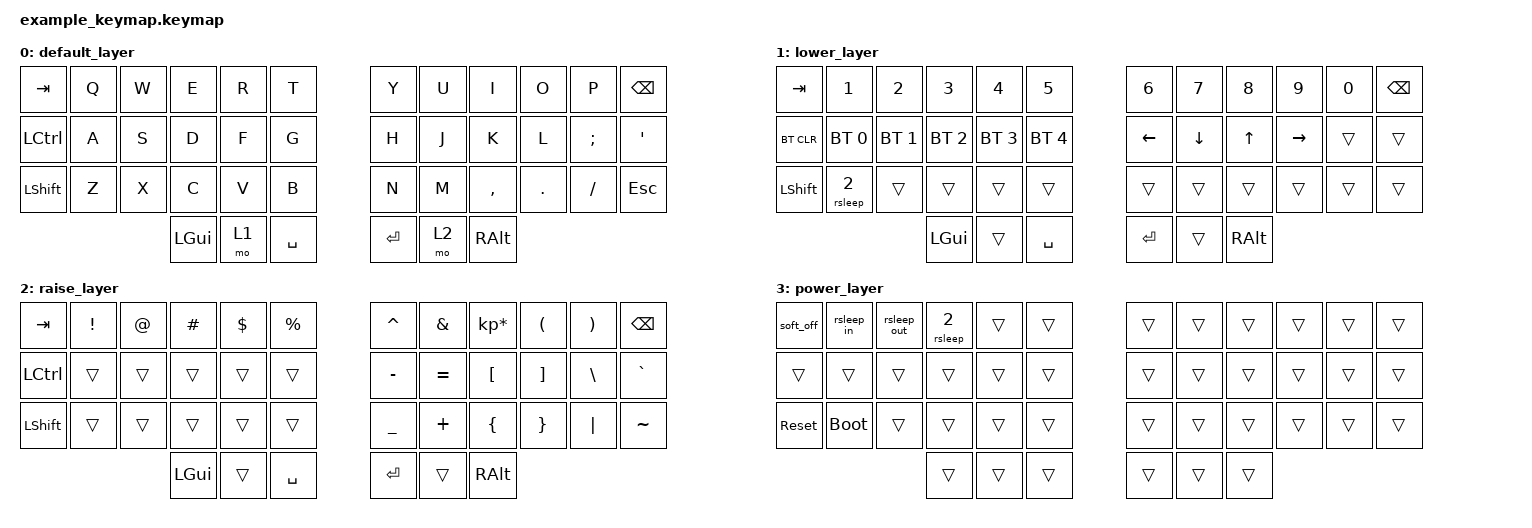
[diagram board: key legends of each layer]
/*
 * ZMK 智能深度睡眠方案示例键盘映射
 * Copyright (c) 2024 The ZMK Contributors
 * SPDX-License-Identifier: MIT
 */

#include <behaviors.dtsi>
#include <dt-bindings/zmk/keys.h>
#include <dt-bindings/zmk/bt.h>

/ {
    keymap {
        compatible = "zmk,keymap";

        default_layer {
            // -----------------------------------------------------------------------------------------
            // |  TAB |  Q  |  W  |  E  |  R  |  T  |   |  Y  |  U   |  I  |  O  |  P  | BKSP |
            // | CTRL |  A  |  S  |  D  |  F  |  G  |   |  H  |  J   |  K  |  L  |  ;  |  '   |
            // | SHFT |  Z  |  X  |  C  |  V  |  B  |   |  N  |  M   |  ,  |  .  |  /  | ESC  |
            //                    | GUI | LWR | SPC |   | ENT | RSE  | ALT |
            bindings = <
   &kp TAB   &kp Q &kp W &kp E &kp R &kp T   &kp Y &kp U  &kp I     &kp O   &kp P    &kp BSPC
   &kp LCTRL &kp A &kp S &kp D &kp F &kp G   &kp H &kp J  &kp K     &kp L   &kp SEMI &kp SQT
   &kp LSHFT &kp Z &kp X &kp C &kp V &kp B   &kp N &kp M  &kp COMMA &kp DOT &kp FSLH &kp ESC
                  &kp LGUI &mo 1 &kp SPACE   &kp RET &mo 2 &kp RALT
            >;
        };

        lower_layer {
            // -----------------------------------------------------------------------------------------
            // |  TAB |  1  |  2  |  3  |  4  |  5  |   |  6  |  7  |  8  |  9  |  0  | BKSP |
            // | BTCLR| BT1 | BT2 | BT3 | BT4 | BT5 |   | LFT | DWN |  UP | RGT |     |      |
            // | SHFT |RSLEEP|    |     |     |     |   |     |     |     |     |     |      |
            //                    | GUI |     | SPC |   | ENT |     | ALT |
            bindings = <
   &kp TAB    &kp N1       &kp N2       &kp N3       &kp N4       &kp N5         &kp N6   &kp N7   &kp N8 &kp N9    &kp N0 &kp BSPC
   &bt BT_CLR &bt BT_SEL 0 &bt BT_SEL 1 &bt BT_SEL 2 &bt BT_SEL 3 &bt BT_SEL 4   &kp LEFT &kp DOWN &kp UP &kp RIGHT &trans &trans
   &kp LSHFT  &rsleep 2    &trans       &trans       &trans       &trans         &trans   &trans   &trans &trans    &trans &trans
                          	        &kp LGUI     &trans       &kp SPACE      &kp RET  &trans   &kp RALT
            >;
        };

        raise_layer {
            // -----------------------------------------------------------------------------------------
            // |  TAB |  !  |  @  |  #  |  $  |  %  |   |  ^  |  &  |  *  |  (  |  )  | BKSP |
            // | CTRL |     |     |     |     |     |   |  -  |  =  |  [  |  ]  |  \  |  `   |
            // | SHFT |     |     |     |     |     |   |  _  |  +  |  {  |  }  | "|" |  ~   |
            //                    | GUI |     | SPC |   | ENT |     | ALT |
            bindings = <
   &kp  TAB  &kp EXCL &kp AT &kp HASH &kp DLLR &kp PRCNT   &kp CARET &kp AMPS  &kp KP_MULTIPLY &kp LPAR &kp RPAR &kp BSPC
   &kp LCTRL &trans   &trans &trans   &trans   &trans      &kp MINUS &kp EQUAL &kp LBKT        &kp RBKT &kp BSLH &kp GRAVE
   &kp LSHFT &trans   &trans &trans   &trans   &trans      &kp UNDER &kp PLUS  &kp LBRC        &kp RBRC &kp PIPE &kp TILDE
                    	     &kp LGUI &trans   &kp SPACE   &kp RET   &trans    &kp RALT
            >;
        };
        
        power_layer {
            // 专门的电源管理层
            // -----------------------------------------------------------------------------------------
            // | SOFT_OFF | RSLEEP_IN | RSLEEP_OUT | RSLEEP_TOGGLE |  |  |  |  |  |  |  |  |
            // |          |           |            |               |  |  |  |  |  |  |  |  |
            // |          |           |            |               |  |  |  |  |  |  |  |  |
            //                       |    |    |    |    |    |    |
            bindings = <
   &soft_off    &rsleep_in  &rsleep_out &rsleep 2   &trans &trans   &trans &trans &trans &trans &trans &trans
   &trans       &trans      &trans      &trans      &trans &trans   &trans &trans &trans &trans &trans &trans  
   &sys_reset   &bootloader &trans      &trans      &trans &trans   &trans &trans &trans &trans &trans &trans
                                        &trans &trans &trans   &trans &trans &trans
            >;
        };
    };
    
    // 自定义睡眠行为示例
    behaviors {
        // 快速睡眠（立即进入）
        quick_sleep: quick_sleep {
            compatible = "zmk,behavior-remote-sleep";
            #binding-cells = <0>;
            default-command = <0>;  // 进入睡眠
            affect-peripherals;
            delay-ms = <0>;
        };
        
        // 延迟睡眠（3秒后进入）
        delayed_sleep: delayed_sleep {
            compatible = "zmk,behavior-remote-sleep"; 
            #binding-cells = <0>;
            default-command = <0>;
            affect-peripherals;
            delay-ms = <3000>;
        };
        
        // 仅本地睡眠（不影响外设）
        local_sleep: local_sleep {
            compatible = "zmk,behavior-remote-sleep";
            #binding-cells = <0>;
            default-command = <2>;  // 切换
            /delete-property/ affect-peripherals;
        };
    };
}; 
